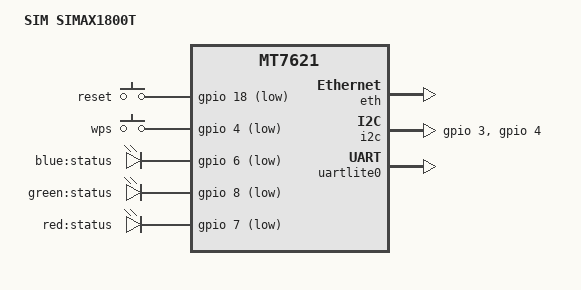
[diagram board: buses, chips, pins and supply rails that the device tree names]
// SPDX-License-Identifier: GPL-2.0+

/dts-v1/;
#include "mt7621.dtsi"

#include <dt-bindings/gpio/gpio.h>
#include <dt-bindings/input/input.h>

/ {
	model = "SIM SIMAX1800T";
	compatible = "sim,simax1800t", "mediatek,mt7621-soc";

	chosen {
		stdout-path = &uartlite0;
	};

	config {
		reset-button = "reset";
		wps-button = "wps";
		status1-led = "green:status";
		status2-led = "red:status";
	};

	keys {
		compatible = "gpio-keys";

		reset {
			label = "reset";
			gpios = <&gpio 18 GPIO_ACTIVE_LOW>;
			linux,code = <KEY_RESTART>;
		};

		wps {
			label = "wps";
			gpios = <&gpio 4 GPIO_ACTIVE_LOW>;
			linux,code = <KEY_WPS_BUTTON>;
		};
	};

	leds {
		compatible = "gpio-leds";

		led-blue {
			label = "blue:status";
			gpios = <&gpio 6 GPIO_ACTIVE_LOW>;
			default-state = "off";
		};

		led-green {
			label = "green:status";
			gpios = <&gpio 8 GPIO_ACTIVE_LOW>;
			default-state = "on";
		};

		led-red {
			label = "red:status";
			gpios = <&gpio 7 GPIO_ACTIVE_LOW>;
			default-state = "off";
		};
	};
};

&eth {
	status = "okay";
};

&gpio {
	status = "okay";
};

&i2c {
	gpios = <&gpio 3 1>, /* PIN3 as SDA */
		<&gpio 4 1>; /* PIN4 as CLK */
};

&state_default {
	/delete-node/ rgmii2-gpio_pins;
	/delete-node/ spi_pins;
	/delete-node/ sdhci-gpio_pins;
};

&uartlite0 {
	status = "okay";
};
